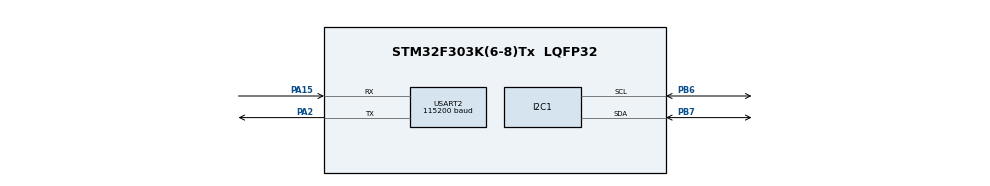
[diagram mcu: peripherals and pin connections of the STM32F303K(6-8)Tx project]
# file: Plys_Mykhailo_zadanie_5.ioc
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I2C1.I2C_Fall_Time=0
I2C1.I2C_Rise_Time=0
Mcu.Family=STM32F3
Mcu.Name=STM32F303K(6-8)Tx
Mcu.Package=LQFP32
NVIC.I2C1_EV_IRQn=false\:0\:0\:false\:false\:true\:true\:true\:true
NVIC.PriorityGroup=NVIC_PRIORITYGROUP_4
PA13.Mode=Serial_Wire
PA13.Signal=SYS_JTMS-SWDIO
PA14.Mode=Serial_Wire
PA14.Signal=SYS_JTCK-SWCLK
PA15.Mode=Asynchronous
PA15.Signal=USART2_RX
PA2.Mode=Asynchronous
PA2.Signal=USART2_TX
PB6.Mode=I2C
PB6.Signal=I2C1_SCL
PB7.Mode=I2C
PB7.Signal=I2C1_SDA
ProjectManager.HeapSize=0x200
ProjectManager.StackSize=0x400
ProjectManager.TargetToolchain=STM32CubeIDE
RCC.AHBFreq_Value=8000000
RCC.APB1Freq_Value=8000000
RCC.APB2Freq_Value=8000000
RCC.CortexFreq_Value=8000000
RCC.HSE_VALUE=8000000
RCC.HSI_VALUE=8000000
RCC.SYSCLKFreq_VALUE=8000000
USART2.BaudRate=115200
USART2.VirtualMode-Asynchronous=VM_ASYNC
board=custom

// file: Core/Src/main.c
/* USER CODE BEGIN Header */
/**
  ******************************************************************************
  * @file           : main.c
  * @brief          : Main program body
  ******************************************************************************
  * @attention
  *
  * Copyright (c) 2026 STMicroelectronics.
  * All rights reserved.
  *
  * This software is licensed under terms that can be found in the LICENSE file
  * in the root directory of this software component.
  * If no LICENSE file comes with this software, it is provided AS-IS.
  *
  ******************************************************************************
  */
/* USER CODE END Header */
#include "main.h"
#include "i2c.h"
#include "usart.h"
#include "gpio.h"

/* USER CODE BEGIN Includes */
#include "lps22hb.h"
#include "hts221.h"
#include "weather.h"

/* USER CODE END Includes */

void SystemClock_Config(void);

int main(void)
{

  /* MCU Configuration--------------------------------------------------------*/

  /* Reset of all peripherals, Initializes the Flash interface and the Systick. */
  LL_APB2_GRP1_EnableClock(LL_APB2_GRP1_PERIPH_SYSCFG);
  LL_APB1_GRP1_EnableClock(LL_APB1_GRP1_PERIPH_PWR);

  /* System interrupt init*/
  NVIC_SetPriorityGrouping(NVIC_PRIORITYGROUP_4);

  /* SysTick_IRQn interrupt configuration */
  NVIC_SetPriority(SysTick_IRQn, NVIC_EncodePriority(NVIC_GetPriorityGrouping(),15, 0));

  /* Configure the system clock */
  SystemClock_Config();

  /* Initialize all configured peripherals */
  MX_GPIO_Init();
  MX_I2C1_Init();
  MX_USART2_UART_Init();
  /* USER CODE BEGIN 2 */
  lps22hb_t pressure_sensor = {0};
  lps22hb_register_bus(&pressure_sensor, i2c_read, i2c_write);
  hts221_t humidity_sensor = {0};
  hts221_register_bus(&humidity_sensor, i2c_read, i2c_write);
  int sensors_ready = 0;
  float reference_pressure = 0.0f;
  LL_mDelay(100);

  /* USER CODE END 2 */

  /* Infinite loop */
  while (1)
  {

    /* USER CODE BEGIN 3 */
    if (!sensors_ready) {
      int pressure_status = lps22hb_init(&pressure_sensor);
      int humidity_status = hts221_init(&humidity_sensor);
      sensors_ready = pressure_status == SENSOR_OK && humidity_status == SENSOR_OK;
      LL_mDelay(1100);
    }
    if (sensors_ready) {
      float pressure, temperature, humidity, altitude;
      int pressure_status = lps22hb_read_pressure(&pressure_sensor, &pressure);
      int temperature_status = hts221_read_temperature(&humidity_sensor, &temperature);
      int humidity_status = hts221_read_humidity(&humidity_sensor, &humidity);
      if (pressure_status == SENSOR_OK && temperature_status == SENSOR_OK &&
          humidity_status == SENSOR_OK) {
        if (reference_pressure == 0.0f) reference_pressure = pressure;
        char csv[96];
        if (relative_altitude(pressure, reference_pressure, &altitude) == 0) {
          int length = weather_csv(csv, sizeof csv, temperature, humidity, pressure, altitude);
          if (length > 0) (void)usart_send(csv, (size_t)length);
        }
      } else if ((pressure_status != SENSOR_OK && pressure_status != SENSOR_NOT_READY) ||
                 (temperature_status != SENSOR_OK && temperature_status != SENSOR_NOT_READY) ||
                 (humidity_status != SENSOR_OK && humidity_status != SENSOR_NOT_READY)) {
        sensors_ready = 0;
      }
    }
    /* Pri chybe neposielame stare ani nahradne merania. */
    LL_mDelay(1000);
  }
  /* USER CODE END 3 */
}

void SystemClock_Config(void)
{
  LL_FLASH_SetLatency(LL_FLASH_LATENCY_0);
  while(LL_FLASH_GetLatency()!= LL_FLASH_LATENCY_0)
  {
  }
  LL_RCC_HSI_Enable();

   /* Wait till HSI is ready */
  while(LL_RCC_HSI_IsReady() != 1)
  {

  }
  LL_RCC_HSI_SetCalibTrimming(16);
  LL_RCC_SetAHBPrescaler(LL_RCC_SYSCLK_DIV_1);
  LL_RCC_SetAPB1Prescaler(LL_RCC_APB1_DIV_1);
  LL_RCC_SetAPB2Prescaler(LL_RCC_APB2_DIV_1);
  LL_RCC_SetSysClkSource(LL_RCC_SYS_CLKSOURCE_HSI);

   /* Wait till System clock is ready */
  while(LL_RCC_GetSysClkSource() != LL_RCC_SYS_CLKSOURCE_STATUS_HSI)
  {

  }
  LL_Init1msTick(8000000);
  LL_SetSystemCoreClock(8000000);
  LL_RCC_SetI2CClockSource(LL_RCC_I2C1_CLKSOURCE_HSI);
}

void Error_Handler(void)
{
  __disable_irq();
  while (1)
  {
  }
}
